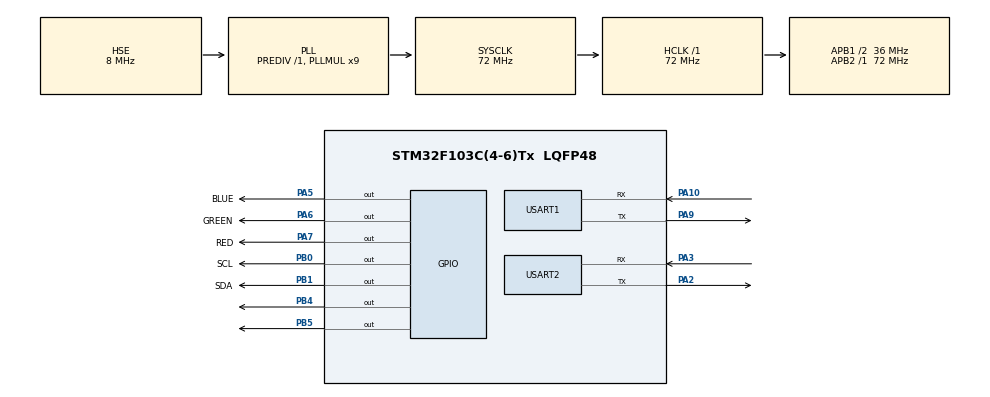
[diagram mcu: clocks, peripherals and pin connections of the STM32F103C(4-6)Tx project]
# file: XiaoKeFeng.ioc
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FREERTOS.Tasks01=defaultTask,-3,128,StartDefaultTask,Default,NULL,Dynamic,NULL,NULL;SGP30Task,-3,128,SGP30TaskStart,Default,NULL,Dynamic,NULL,NULL;LEDTask,-3,128,LEDTaskStart,Default,NULL,Dynamic,NULL,NULL;OLEDTask,-3,128,OLEDTaskStart,Default,NULL,Dynamic,NULL,NULL;PubTask,-3,512,PubTaskStart,Default,NULL,Dynamic,NULL,NULL;BLETask,-3,128,BLETaskStart,Default,NULL,Dynamic,NULL,NULL
FREERTOS.configTOTAL_HEAP_SIZE=5280
Mcu.Family=STM32F1
Mcu.Name=STM32F103C(4-6)Tx
Mcu.Package=LQFP48
NVIC.PriorityGroup=NVIC_PRIORITYGROUP_4
PA10.Mode=Asynchronous
PA10.Signal=USART1_RX
PA13.Mode=Serial_Wire
PA13.Signal=SYS_JTMS-SWDIO
PA14.Mode=Serial_Wire
PA14.Signal=SYS_JTCK-SWCLK
PA2.Mode=Asynchronous
PA2.Signal=USART2_TX
PA3.Mode=Asynchronous
PA3.Signal=USART2_RX
PA5.GPIO_Label=BLUE
PA5.Signal=GPIO_Output
PA6.GPIO_Label=GREEN
PA6.Signal=GPIO_Output
PA7.GPIO_Label=RED
PA7.Signal=GPIO_Output
PA9.Mode=Asynchronous
PA9.Signal=USART1_TX
PB0.GPIO_Label=SCL
PB0.Signal=GPIO_Output
PB1.GPIO_Label=SDA
PB1.Signal=GPIO_Output
PB4.Signal=GPIO_Output
PB5.Signal=GPIO_Output
PC14-OSC32_IN.Mode=LSE-External-Oscillator
PC14-OSC32_IN.Signal=RCC_OSC32_IN
PC15-OSC32_OUT.Mode=LSE-External-Oscillator
PC15-OSC32_OUT.Signal=RCC_OSC32_OUT
PD0-OSC_IN.Mode=HSE-External-Oscillator
PD0-OSC_IN.Signal=RCC_OSC_IN
PD1-OSC_OUT.Mode=HSE-External-Oscillator
PD1-OSC_OUT.Signal=RCC_OSC_OUT
ProjectManager.HeapSize=0x200
ProjectManager.StackSize=0x400
ProjectManager.TargetToolchain=MDK-ARM V5.32
RCC.AHBFreq_Value=72000000
RCC.APB1CLKDivider=RCC_HCLK_DIV2
RCC.APB1Freq_Value=36000000
RCC.APB1TimFreq_Value=72000000
RCC.APB2Freq_Value=72000000
RCC.APB2TimFreq_Value=72000000
RCC.HCLKFreq_Value=72000000
RCC.PLLMUL=RCC_PLL_MUL9
RCC.PLLSourceVirtual=RCC_PLLSOURCE_HSE
RCC.SYSCLKFreq_VALUE=72000000
RCC.SYSCLKSource=RCC_SYSCLKSOURCE_PLLCLK
RCC.USBFreq_Value=72000000
USART1.VirtualMode=VM_ASYNC
USART2.VirtualMode=VM_ASYNC
VP_FREERTOS_VS_CMSIS_V1.Mode=CMSIS_V1
board=custom

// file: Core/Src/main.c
/* USER CODE BEGIN Header */
/**
  ******************************************************************************
  * @file           : main.c
  * @brief          : Main program body
  ******************************************************************************
  * @attention
  *
  * Copyright (c) 2022 STMicroelectronics.
  * All rights reserved.
  *
  * This software is licensed under terms that can be found in the LICENSE file
  * in the root directory of this software component.
  * If no LICENSE file comes with this software, it is provided AS-IS.
  *
  ******************************************************************************
  */
/* USER CODE END Header */
#include "main.h"
#include "cmsis_os.h"
#include "usart.h"
#include "gpio.h"

/* USER CODE BEGIN Includes */
#include "stdio.h"
#include "sgp30.h"
#include "esp8266.h"
#include "bsp_oled.h"
/* USER CODE END Includes */

void SystemClock_Config(void);
void MX_FREERTOS_Init(void);

int main(void)
{

  /* MCU Configuration--------------------------------------------------------*/

  /* Reset of all peripherals, Initializes the Flash interface and the Systick. */
  HAL_Init();

  /* Configure the system clock */
  SystemClock_Config();

  /* Initialize all configured peripherals */
  MX_GPIO_Init();
  MX_USART1_UART_Init();
  MX_USART2_UART_Init();
  /* USER CODE BEGIN 2 */
  OLED_Clear();
  OLED_Init();
  OLED_ShowString(3,20,"SGP30 Demo"),
  OLED_ShowString(5,30,"Welcome"),
  /* USER CODE END 2 */

  /* Call init function for freertos objects (in freertos.c) */
  MX_FREERTOS_Init();
  /* Start scheduler */
  osKernelStart();

  /* We should never get here as control is now taken by the scheduler */
  /* Infinite loop */
  while (1)
  {

  }
}

void SystemClock_Config(void)
{
  RCC_OscInitTypeDef RCC_OscInitStruct = {0};
  RCC_ClkInitTypeDef RCC_ClkInitStruct = {0};

  /** Initializes the RCC Oscillators according to the specified parameters
  * in the RCC_OscInitTypeDef structure.
  */
  RCC_OscInitStruct.OscillatorType = RCC_OSCILLATORTYPE_HSE;
  RCC_OscInitStruct.HSEState = RCC_HSE_ON;
  RCC_OscInitStruct.HSEPredivValue = RCC_HSE_PREDIV_DIV1;
  RCC_OscInitStruct.HSIState = RCC_HSI_ON;
  RCC_OscInitStruct.PLL.PLLState = RCC_PLL_ON;
  RCC_OscInitStruct.PLL.PLLSource = RCC_PLLSOURCE_HSE;
  RCC_OscInitStruct.PLL.PLLMUL = RCC_PLL_MUL9;
  if (HAL_RCC_OscConfig(&RCC_OscInitStruct) != HAL_OK)
  {
    Error_Handler();
  }
  /** Initializes the CPU, AHB and APB buses clocks
  */
  RCC_ClkInitStruct.ClockType = RCC_CLOCKTYPE_HCLK|RCC_CLOCKTYPE_SYSCLK
                              |RCC_CLOCKTYPE_PCLK1|RCC_CLOCKTYPE_PCLK2;
  RCC_ClkInitStruct.SYSCLKSource = RCC_SYSCLKSOURCE_PLLCLK;
  RCC_ClkInitStruct.AHBCLKDivider = RCC_SYSCLK_DIV1;
  RCC_ClkInitStruct.APB1CLKDivider = RCC_HCLK_DIV2;
  RCC_ClkInitStruct.APB2CLKDivider = RCC_HCLK_DIV1;

  if (HAL_RCC_ClockConfig(&RCC_ClkInitStruct, FLASH_LATENCY_2) != HAL_OK)
  {
    Error_Handler();
  }
}

void Error_Handler(void)
{
  __disable_irq();
  while (1)
  {
  }
}

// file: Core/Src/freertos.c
/* USER CODE BEGIN Header */
/**
  ******************************************************************************
  * File Name          : freertos.c
  * Description        : Code for freertos applications
  ******************************************************************************
  * @attention
  *
  * Copyright (c) 2022 STMicroelectronics.
  * All rights reserved.
  *
  * This software is licensed under terms that can be found in the LICENSE file
  * in the root directory of this software component.
  * If no LICENSE file comes with this software, it is provided AS-IS.
  *
  ******************************************************************************
  */
/* USER CODE END Header */

#include "FreeRTOS.h"
#include "task.h"
#include "main.h"
#include "cmsis_os.h"

/* USER CODE BEGIN Includes */
#include "stdio.h"
#include "usart.h"
#include "sgp30.h"
#include "esp8266.h"
#include "bsp_oled.h"
#include "string.h"
/* USER CODE END Includes */

/* USER CODE BEGIN PTD */
#define LOG 0
/* USER CODE END PTD */

/* USER CODE BEGIN PD */
#define TOPIC "/SGP30/Data"
/* USER CODE END PD */

/* USER CODE BEGIN Variables */
psgp30_data_t g_psgp30_data;
  //定队列句柄
QueueHandle_t queue1;
extern char* status;
/* USER CODE END Variables */
osThreadId defaultTaskHandle;
osThreadId SGP30TaskHandle;
osThreadId LEDTaskHandle;
osThreadId OLEDTaskHandle;
osThreadId PubTaskHandle;
osThreadId BLETaskHandle;

void StartDefaultTask(void const * argument);
void SGP30TaskStart(void const * argument);
void LEDTaskStart(void const * argument);
void OLEDTaskStart(void const * argument);
void PubTaskStart(void const * argument);
void BLETaskStart(void const * argument);

void MX_FREERTOS_Init(void); /* (MISRA C 2004 rule 8.1) */

/* GetIdleTaskMemory prototype (linked to static allocation support) */
void vApplicationGetIdleTaskMemory( StaticTask_t **ppxIdleTaskTCBBuffer, StackType_t **ppxIdleTaskStackBuffer, uint32_t *pulIdleTaskStackSize );

/* USER CODE BEGIN GET_IDLE_TASK_MEMORY */
static StaticTask_t xIdleTaskTCBBuffer;
static StackType_t xIdleStack[configMINIMAL_STACK_SIZE];

void vApplicationGetIdleTaskMemory( StaticTask_t **ppxIdleTaskTCBBuffer, StackType_t **ppxIdleTaskStackBuffer, uint32_t *pulIdleTaskStackSize )
{
  *ppxIdleTaskTCBBuffer = &xIdleTaskTCBBuffer;
  *ppxIdleTaskStackBuffer = &xIdleStack[0];
  *pulIdleTaskStackSize = configMINIMAL_STACK_SIZE;
  /* place for user code */
}
/* USER CODE END GET_IDLE_TASK_MEMORY */

void MX_FREERTOS_Init(void) {
  /* USER CODE BEGIN Init */
  //SGP30模块初始化
  #if LOG
	printf("start success... ...\r\n");
  #endif
  SGP30_Init();   //sgp30初始化
  ESP8266_Init();
  HAL_Delay(1000);
  ESP8266_ConnectAP();
  HAL_Delay(1000);
  ESP8266_Connect();
  /* USER CODE END Init */

  /* USER CODE BEGIN RTOS_QUEUES */
  /* add queues, ... */
  //创建队列
  queue1 = xQueueCreate(10,sizeof(struct sgp30_data_t));
  if(queue1 == pdFALSE)
  {
    #if LOG
    printf("队列创建失败\r\n");
    #endif
  }
  else
  {
    #if LOG
     printf("队列queue1创建成功\r\n");
     #endif
  }
  /* USER CODE END RTOS_QUEUES */

  /* Create the thread(s) */
  /* definition and creation of defaultTask */
  osThreadDef(defaultTask, StartDefaultTask, osPriorityIdle, 0, 128);
  defaultTaskHandle = osThreadCreate(osThread(defaultTask), NULL);

  /* definition and creation of SGP30Task */
  osThreadDef(SGP30Task, SGP30TaskStart, osPriorityIdle, 0, 128);
  SGP30TaskHandle = osThreadCreate(osThread(SGP30Task), NULL);

  /* definition and creation of LEDTask */
  osThreadDef(LEDTask, LEDTaskStart, osPriorityIdle, 0, 128);
  LEDTaskHandle = osThreadCreate(osThread(LEDTask), NULL);

  /* definition and creation of OLEDTask */
  osThreadDef(OLEDTask, OLEDTaskStart, osPriorityIdle, 0, 128);
  OLEDTaskHandle = osThreadCreate(osThread(OLEDTask), NULL);

  /* definition and creation of PubTask */
  osThreadDef(PubTask, PubTaskStart, osPriorityIdle, 0, 128);
  PubTaskHandle = osThreadCreate(osThread(PubTask), NULL);

  /* definition and creation of BLETask */
  osThreadDef(BLETask, BLETaskStart, osPriorityIdle, 0, 128);
  BLETaskHandle = osThreadCreate(osThread(BLETask), NULL);

}

/* USER CODE BEGIN Header_StartDefaultTask */
/**
  * @brief  默认任务 unuse
  * @param  argument: Not used
  * @retval None
  */
/* USER CODE END Header_StartDefaultTask */
void StartDefaultTask(void const * argument)
{
  /* USER CODE BEGIN StartDefaultTask */
  /* Infinite loop */

  for(;;)
  {
    //HAL_UART_Transmit(&huart2,ch,sizeof(ch),1000);
		//printf("StartDefaultTask\r\n");
    osDelay(1);
  }
  /* USER CODE END StartDefaultTask */
}

/* USER CODE BEGIN Header_SGP30TaskStart */
/**
* @brief SGP30检测任务
* @param argument: Not used
* @retval None
*/
/* USER CODE END Header_SGP30TaskStart */
void SGP30TaskStart(void const * argument)
{
  /* USER CODE BEGIN SGP30TaskStart */
  /* Infinite loop */
  uint32_t sgp30_dat;
  uint32_t CO2Data,TVOCData;//定义CO2浓度变量与TVOC浓度变量
  static uint16_t count = 30;
  static uint32_t average_CO2=0,average_TVOS = 0,ave_count = 5;
  for(;;)
  {
    #if LOG
    printf("SGP30TaskStart\r\n");
    #endif
    SGP30_Write(0x20,0x08);
	  sgp30_dat = SGP30_Read();//读取SGP30的值
	  CO2Data = (sgp30_dat & 0xffff0000) >> 16;
	  TVOCData = sgp30_dat & 0x0000ffff;
    if(CO2Data == 400 && TVOCData == 0 && count)
    {
//      SGP30_Write(0x20,0x08);
//      sgp30_dat = SGP30_Read();//读取SGP30的值
//      CO2Data = (sgp30_dat & 0xffff0000) >> 16;//取出CO2浓度值
//      TVOCData = sgp30_dat & 0x0000ffff;			 //取出TVOC值
      count--;
      #if LOG
      printf("正在检测中...\r\n");
      #endif

    }else{
//      SGP30_Write(0x20,0x08);
//      sgp30_dat = SGP30_Read();//读取SGP30的值
//      CO2Data = (sgp30_dat & 0xffff0000) >> 16;//取出CO2浓度值
//      TVOCData = sgp30_dat & 0x0000ffff;       //取出TVOC值**/
        while(ave_count)
        {
            SGP30_Write(0x20,0x08);
            sgp30_dat = SGP30_Read();//读取SGP30的值
            CO2Data = (sgp30_dat & 0xffff0000) >> 16;//取出CO2浓度值
            TVOCData = sgp30_dat & 0x0000ffff;
            average_CO2 += CO2Data;
            average_TVOS += TVOCData;
            ave_count --;
        }
        sgp30_data_t sgp30_data;
        #if LOG
        printf("CO2:%.2fppm\r\nTVOC:%.2fppb\r\n",average_CO2/5.00,average_TVOS/5.00);
        #endif
        sgp30_data.CO2 = average_CO2/5.00;
        sgp30_data.TVOS = average_TVOS/5.00;
        xQueueSend(queue1,(void*)&sgp30_data,portMAX_DELAY);

          /**if((average_TVOS/5.00)>30)
          {
            HAL_GPIO_WritePin(GPIOA,GREEN_Pin,0);
            HAL_GPIO_WritePin(GPIOA,BLUE_Pin,0);
            HAL_GPIO_WritePin(GPIOA,RED_Pin,1);
          }
          else if((average_TVOS/5.00)>20)
          {
            HAL_GPIO_WritePin(GPIOA,GREEN_Pin,0);
            HAL_GPIO_WritePin(GPIOA,BLUE_Pin,1);
            HAL_GPIO_WritePin(GPIOA,RED_Pin,0);
          }
          else if((average_TVOS/5.00)>0)
          {
            HAL_GPIO_WritePin(GPIOA,GREEN_Pin,1);
            HAL_GPIO_WritePin(GPIOA,BLUE_Pin,0);
            HAL_GPIO_WritePin(GPIOA,RED_Pin,0);
          }*/
          /*uint8_t sendData = 10;
          xReturn = xQueueSend(queue1,&sendData,portMAX_DELAY);
          if(xReturn!=pdPASS)
          {
            printf("Send Error\r\n");
          }
          else{
            printf("Send Success\r\n");
          }*/
        average_TVOS =0;
        average_CO2 = 0;
        ave_count =5;
    }
    osDelay(500);
  }
  /* USER CODE END SGP30TaskStart */
}

/* USER CODE BEGIN Header_LEDTaskStart */
/**
* @brief LED任务
* @param argument: Not used
* @retval None
*/
/* USER CODE END Header_LEDTaskStart */
void LEDTaskStart(void const * argument)
{
  /* USER CODE BEGIN LEDTaskStart */
  /* Infinite loop */
  BaseType_t xReturn;
  sgp30_data_t sgp30_data;
  char CO2[128];
  char TVOS[128];
  for(;;)
  {
    #if LOG
    printf("Start LEDTask\r\n");
    #endif
    xReturn =  xQueueReceive(queue1,(void*)&sgp30_data,portMAX_DELAY);
    if(xReturn)
    {
     /* sprintf(ch,"{\"CO2\":%.2f,\"TVOS\":%.2f}",sgp30_data.CO2,sgp30_data.TVOS);
      ESP8266_Pub(TOPIC,ch);
      memset(ch,0,sizeof(ch));*/
      #if LOG
      printf("sgp30_data->CO2:%.2f,sgp30_data->TVOS:%.2f\r\n",sgp30_data.CO2,sgp30_data.TVOS);
      #endif
			//不同浓度对应不同的颜色
      if(sgp30_data.TVOS>30)
      {
        HAL_GPIO_WritePin(GPIOA,GREEN_Pin,0);
        HAL_GPIO_WritePin(GPIOA,RED_Pin,1);
        HAL_GPIO_WritePin(GPIOA,BLUE_Pin,0);
      }
      else if (sgp30_data.TVOS>20)
      {
        /* code */
        HAL_GPIO_WritePin(GPIOA,GREEN_Pin,0);
        HAL_GPIO_WritePin(GPIOA,RED_Pin,0);
        HAL_GPIO_WritePin(GPIOA,BLUE_Pin,1);
      }
      else if (sgp30_data.TVOS>0)
      {
        /* code */
        HAL_GPIO_WritePin(GPIOA,GREEN_Pin,1);
        HAL_GPIO_WritePin(GPIOA,RED_Pin,0);
        HAL_GPIO_WritePin(GPIOA,BLUE_Pin,0);
      }
    }
    osDelay(1);
  }
  /* USER CODE END LEDTaskStart */
}

void OLEDTaskStart(void const * argument)
{
  /* USER CODE BEGIN OLEDTaskStart */
  /* Infinite loop */
  BaseType_t xReturn;
  sgp30_data_t sgp30_data;
  char CO2[64];
  char TVOS[64];
  for(;;)
  {
     xReturn =  xQueueReceive(queue1,(void*)&sgp30_data,portMAX_DELAY);
     if(xReturn)
     {
       //printf("___sgp30_data->CO2:%.2f,sgp30_data->TVOS:%.2f\r\n",sgp30_data.CO2,sgp30_data.TVOS);
       #if LOG
       printf("Start OLEDTask\r\n");
       #endif
        sprintf(CO2,"CO2:%2.f",sgp30_data.CO2);
        sprintf(TVOS,"TVOS:%2.f",sgp30_data.TVOS);
        OLED_Clear();
        OLED_ShowString(4,0,CO2);   //显示CO2浓度
        OLED_ShowString(6,0,TVOS);  //显示甲醛等气体浓度
        memset(CO2,0,sizeof(CO2));
        memset(TVOS,0,sizeof(TVOS));
     }
    osDelay(1);
  }
  /* USER CODE END OLEDTaskStart */
}

void PubTaskStart(void const * argument)
{
  /* USER CODE BEGIN PubTaskStart */
  /* Infinite loop */
  BaseType_t xReturn;
  sgp30_data_t sgp30_data;
  char ch1[16];
  char ch[32];

  for(;;)
  {
    xReturn = xQueueReceive(queue1,(void*)&sgp30_data,portMAX_DELAY);
    if(xReturn)
    {
      #if LOG
      printf("Start PublishTask\r\n");
      #endif
      sprintf(ch1,"%.2f\\,%.2f",sgp30_data.CO2,sgp30_data.TVOS);
      //ESP8266_Pub(Topic,ch1);
      sprintf(ch,"AT+MQTTPUB=0,\"%s\",\"%s\",0,0\r\n",Topic,ch1);  //上传至云服务器
	    ESP8266_Send(ch);
      memset(ch,0,32);
      memset(ch1,0,sizeof(ch1));
     // printf("1111\r\n");
    }
    osDelay(1);
  }
  /* USER CODE END PubTaskStart */
}

void BLETaskStart(void const * argument)
{
  /* USER CODE BEGIN BLETaskStart */
  /* Infinite loop */
  BaseType_t xReturn;
  sgp30_data_t sgp30_data;
  uint8_t ch[18];
  uint8_t ch1[18];
  for(;;)
  {
    xReturn = xQueueReceive(queue1,(void*)&sgp30_data,portMAX_DELAY);
    if(xReturn)
    {
      int data = sgp30_data.TVOS;
      if(data<10)
      {
        sprintf(ch,"AT+TEST=2,0282,0%x\r\n",data);
        sprintf(ch1,"AT+TEST=6,0282,0%x\r\n",data);
      }
       else
      {
        sprintf(ch,"AT+TEST=2,0282,%d\r\n",data);
        sprintf(ch1,"AT+TEST=6,0282,%d\r\n",data);
      }
      HAL_UART_Transmit(&huart1,ch,19,1000);     //向地址位0x2的蓝牙设备发送数据
      osDelay(100);
      HAL_UART_Transmit(&huart1,ch1,19,1000);    //向地址为0xA的蓝牙设备发送数据
      memset(ch,0,sizeof(ch));
      memset(ch1,0,sizeof(ch1));
      }
    osDelay(1);
  }
  /* USER CODE END BLETaskStart */
}
